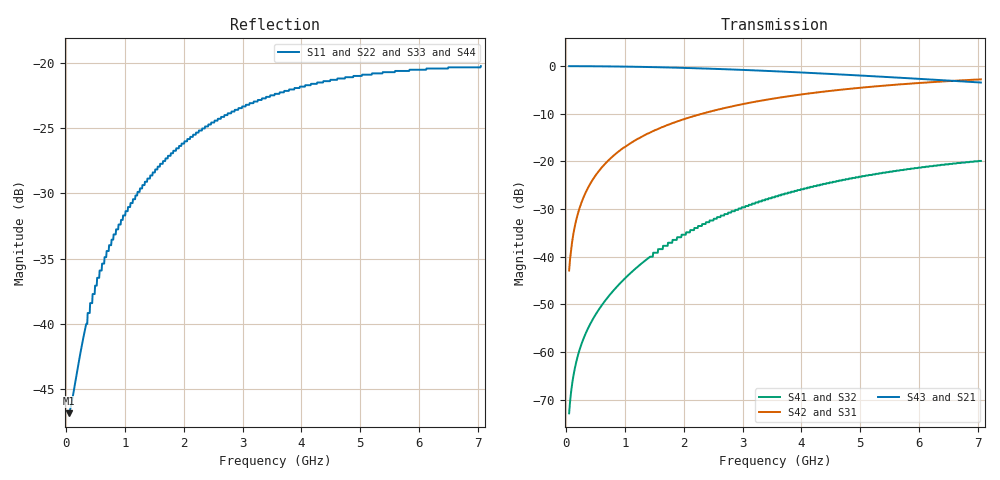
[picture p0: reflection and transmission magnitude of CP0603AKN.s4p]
# MHZ S MA R 50
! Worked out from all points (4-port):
!   1000 points, 50 MHz to 7.05 GHz, reference 50 ohm
!   strongest paths, dB at 50 MHz, 1.802 GHz, 3.554 GHz, 5.305 GHz, 7.05 GHz:
!     S43: 0.0, -0.3, -1.1, -2.2, -3.5
!     S21: 0.0, -0.3, -1.1, -2.2, -3.5
!     S42: -42.9, -12.0, -6.8, -4.2, -2.8
!     S31: -42.9, -12.0, -6.8, -4.2, -2.8
!     S41: -72.9, -37.1, -27.3, -22.6, -19.9
!     S32: -72.9, -37.1, -27.3, -22.6, -19.9
!   lowest |S11| = -46.9 dB at 50 MHz (marker M1), VSWR 1.01, Z = 50.4 - j0.135 ohm
!   |S11| at or under -10 dB: start of sweep to end of sweep
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50  0.004541 -17.2  0.996 -0.3  0.007167 89.7  0.0002277 -87.9
    0.996 -0.3  0.004541 -17.2  0.0002277 -87.9  0.007167 89.7
    0.007167 89.7  0.0002277 -87.9  0.004541 -17.2  0.996 -0.3
    0.0002277 -87.9  0.007167 89.7  0.996 -0.3  0.004541 -17.2
218.168  0.007219 -54.1  0.995 -1.4  0.031 88.6  0.00101 -81.0
         0.995 -1.4  0.007219 -54.1  0.00101 -81.0  0.031 88.6
         0.031 88.6  0.00101 -81.0  0.007219 -54.1  0.995 -1.4
         0.00101 -81.0  0.031 88.6  0.995 -1.4  0.007219 -54.1
526.476  0.015 -75.2  0.993 -3.4  0.075 86.6  0.002624 -69.7
         0.993 -3.4  0.015 -75.2  0.002624 -69.7  0.075 86.6
         0.075 86.6  0.002624 -69.7  0.015 -75.2  0.993 -3.4
         0.002624 -69.7  0.075 86.6  0.993 -3.4  0.015 -75.2
1080.03  0.028 -86.5  0.983 -6.9  0.153 83.1  0.006613 -55.8
         0.983 -6.9  0.028 -86.5  0.006613 -55.8  0.153 83.1
         0.153 83.1  0.006613 -55.8  0.028 -86.5  0.983 -6.9
         0.006613 -55.8  0.153 83.1  0.983 -6.9  0.028 -86.5
1843.794  0.046 -93.4  0.961 -11.7  0.256 78.5  0.015 -47.2
          0.961 -11.7  0.046 -93.4  0.015 -47.2  0.256 78.5
          0.256 78.5  0.015 -47.2  0.046 -93.4  0.961 -11.7
          0.015 -47.2  0.256 78.5  0.961 -11.7  0.046 -93.4
3966.917  0.08 -102.4  0.857 -23.7  0.5 66.6  0.05 -46.5
          0.857 -23.7  0.08 -102.4  0.05 -46.5  0.5 66.6
          0.5 66.6  0.05 -46.5  0.08 -102.4  0.857 -23.7
          0.05 -46.5  0.5 66.6  0.857 -23.7  0.08 -102.4
7050  0.097 -103.9  0.671 -37.3  0.724 53.5  0.101 -54.7
      0.671 -37.3  0.097 -103.9  0.101 -54.7  0.724 53.5
      0.724 53.5  0.101 -54.7  0.097 -103.9  0.671 -37.3
      0.101 -54.7  0.724 53.5  0.671 -37.3  0.097 -103.9
